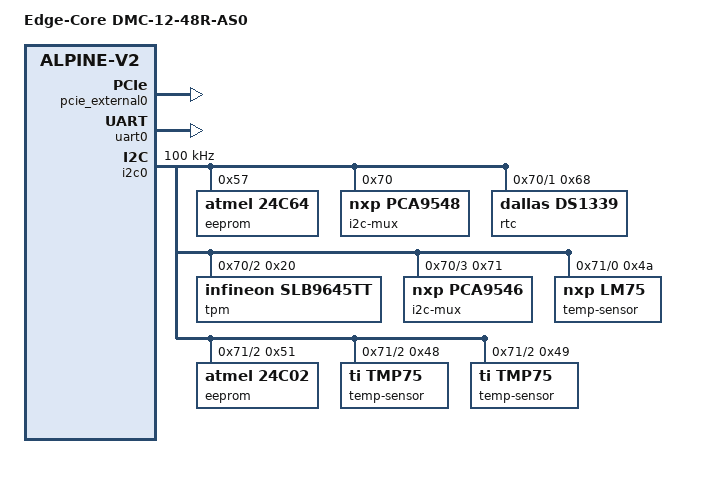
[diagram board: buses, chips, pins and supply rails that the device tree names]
// SPDX-License-Identifier: GPL-2.0
/*
 * Edge-Core DMC-12-48R-AS0 — 48-port serial console server
 * Annapurna Labs Alpine V2 K2C-AB (4× Cortex-A57)
 *
 * This board file is a thin overlay on the mainline alpine-v2.dtsi. The only
 * real fixup is on the &msix node: in mainline 7.x, drivers/of/irq.c's
 * of_irq_init() walks the IRQCHIP_DECLARE table but only invokes the matched
 * init function (drivers/irqchip/irq-alpine-msi.c:alpine_msix_init) for nodes
 * that ALSO have the "interrupt-controller" property. The mainline
 * alpine-v2.dtsi declares the msix node with msi-controller only, so the
 * alpine-msix irqchip never initializes, pci_enable_msix_exact() falls back to
 * an invalid IRQ vector, and al_eth's request_irq() returns -EINVAL. Adding
 * interrupt-controller + #interrupt-cells satisfies the of_irq_init filter
 * without changing semantics for downstream consumers (al_eth reaches the
 * controller via msi-parent on the PCIe host bridge, not interrupt-parent).
 *
 * Console: ttyS0 = uart0 @ 0xfd883000, 115200 8N1.
 * Other hardware (M.2 SSD via PCI 1c36:0031 AHCI, al_eth via PCI 1c36:0001) is
 * PCI-enumerated and binds by ID — no extra DT entries needed for those.
 *
 * Deferred until we need them: the external PCIe controller node
 * (amazon,al-alpine-v2-pcie at 0xfd800000 / ECAM 0xfb600000) that fans out
 * USB + 48× cp210x; the board I2C MCU at addr 0x68 used for fan/LED control.
 */

#include "alpine-v2.dtsi"

/ {
	model = "Edge-Core DMC-12-48R-AS0";
	compatible = "edgecore,dmc-12-48r-as0", "al,alpine-v2";

	aliases {
		serial0 = &uart0;
		serial1 = &uart1;
		serial2 = &uart2;
		serial3 = &uart3;
	};

	chosen {
		stdout-path = "serial0:115200n8";
	};
};

&uart0 { status = "okay"; };

/*
 * Make of_irq_init() actually call alpine_msix_init() for this node.
 * msi-controller is already set in the SoC dtsi; PCIe host bridges reach
 * the controller via msi-parent.
 */
&msix {
	interrupt-controller;
	#interrupt-cells = <1>;
};

/*
 * I2C bus tree, transplanted from the factory FDT (annapurna-labs DTB
 * at /root/dmc12/dmc12_original.fdt). The mainline alpine-v2.dtsi exposes
 * no labels for io-bus@fc000000, so we anchor by path. Addresses are
 * io-bus-relative — uart0 lives at 0x1883000 (absolute 0xfd883000) so
 * 0x1880000 here resolves to 0xfd880000.
 *
 * Linux bus numbering, matching the factory's `i2c dev 4 = CPLD path`:
 *   designware root         -> i2c-0
 *   pca9548 ch0..ch7        -> i2c-1..i2c-8   (channel N -> bus N+1)
 *   pca9546 ch0..ch3        -> i2c-9..i2c-12  (under pca9548 ch3 = i2c-4)
 *
 * /dev/i2c-4 is what dmc12-fancontrol.service waits on: the board CPLD at
 * 0x68 lives there (no DT child for it -- accessed raw via SMBus(4) +
 * i2c-dev). The lm75/tmp75 children below give /sys/class/hwmon entries
 * for `sensors`.
 */

/*
 * Dedicated input clock for the I2C controllers. The mainline alpine-v2.dtsi
 * only declares sbclk @ 1 MHz (for the sp804 timer). Plugging sbclk into the
 * DesignWare I2C controller makes its master driver derive HCNT/LCNT counts
 * of 0 (clk_rate * 4 µs - 3 - 1 = 0 at 1 MHz) -> every transaction loses
 * arbitration on the very first SCL high pulse. The factory FDT worked
 * around this with non-standard `i2c-ss-scl-{hcnt,lcnt}-raw` properties
 * (HCNT 0x855 + LCNT 0xb0b at SCL 100 kHz -> ~4960 input ticks per SCL
 * period -> ~496 MHz input clock). Declare that explicitly here as 500 MHz
 * so mainline's standard count derivation hits the same window.
 */
/ {
	i2cclk: i2cclk {
		compatible = "fixed-clock";
		#clock-cells = <0>;
		clock-frequency = <500000000>;
	};
};

/*
 * External PCIe controller — required for the off-SoC USB stack that fans
 * out to the 48× CP210x USB-serial converters. Mainline alpine-v2.dtsi
 * declares the internal pci-host-ecam-generic at 0xfbc00000 but says
 * nothing about the external port; the QNAP TS-x32x fork (delroth/
 * linux-qnap-tsx32x) pulled it in via a fork-local alpine-v2.dtsi patch,
 * we just paste the same node into our board overlay so mainline 7.0's
 * drivers/pci/controller/dwc/pcie-al.c (CONFIG_PCIE_AL=y) binds.
 *
 * Address layout (verified against factory FDT and QNAP fork):
 *   ECAM     : 0xfb600000 + 0x100000 (full PCIe domain 1)
 *   ctrl regs: 0xfd800000 + 0x10000  (the AL-specific glue)
 *   DBI      : 0xfd810000 + 0x1000   (DesignWare config)
 * Bus MMIO window 0xc0010000..0xc8000000 (~127 MB) matches the factory
 * boot log's `pci_bus 0001:00: root bus resource [mem 0xc0010000-0xc7ffffff]`.
 * Main IRQ GIC_SPI 49; legacy INTA on the bridge -> SPI 41.
 *
 * Once this binds, /dev/ttyUSB0..47 should enumerate as the kernel walks
 * the bridge tree (0001:00:00 -> 01:00 -> 02:03 -> 03:00.{0,1,2} = EHCI
 * + OHCIs -> 3 USB hubs -> 48× CP210x).
 */
/ {
	pcie_external0: pcie@fb600000 {
		compatible = "amazon,al-alpine-v2-pcie";
		device_type = "pci";
		#size-cells = <2>;
		#address-cells = <3>;
		#interrupt-cells = <1>;
		reg = <0x0 0xfb600000 0x0 0x00100000
		       0x0 0xfd800000 0x0 0x00010000
		       0x0 0xfd810000 0x0 0x00001000>;
		reg-names = "config", "controller", "dbi";
		bus-range = <0x00 0xff>;
		interrupts = <GIC_SPI 49 IRQ_TYPE_LEVEL_HIGH>;
		interrupt-map-mask = <0x00 0 0 7>;
		/*
		 * The Pericom 12d8:400c bridge tree fans out the off-SoC USB
		 * stack into a 3-function PCI device — OHCI@.0 lands on INTB,
		 * OHCI@.1 on INTC, EHCI@.2 on INTD after the standard bridge
		 * swizzle. The pcie-al controller has a single shared INTx
		 * line so all four pins route to GIC SPI 41. Mapping only INTA
		 * (as the QNAP TS-x32x fork does — they have no multi-function
		 * children behind their bridge) silently 'Found HC with no IRQ'
		 * for the other two host controllers, leaving the device with
		 * 16 of 48 cp210x ttyUSB ports.
		 */
		interrupt-map = <0x0000 0 0 1 &gic GIC_SPI 41 IRQ_TYPE_LEVEL_HIGH>,
				<0x0000 0 0 2 &gic GIC_SPI 41 IRQ_TYPE_LEVEL_HIGH>,
				<0x0000 0 0 3 &gic GIC_SPI 41 IRQ_TYPE_LEVEL_HIGH>,
				<0x0000 0 0 4 &gic GIC_SPI 41 IRQ_TYPE_LEVEL_HIGH>;
		ranges = <0x02000000 0x0 0xc0010000 0x0 0xc0010000 0x0 0x07ff0000>;
		msi-parent = <&msix>;
	};
};

&{/soc/io-bus@fc000000} {
	i2c0: i2c@1880000 {
		compatible = "snps,designware-i2c";
		reg = <0x1880000 0x1000>;
		interrupts = <GIC_SPI 21 IRQ_TYPE_LEVEL_HIGH>;
		clocks = <&i2cclk>;
		clock-frequency = <100000>;
		#address-cells = <1>;
		#size-cells = <0>;

		/* Board ID EEPROM on the root bus. */
		eeprom@57 {
			compatible = "atmel,24c64";
			reg = <0x57>;
		};

		/* 8-channel mux. The pca9548 driver enumerates each enabled
		 * child as its own Linux i2c bus. */
		i2c-mux@70 {
			compatible = "nxp,pca9548";
			reg = <0x70>;
			#address-cells = <1>;
			#size-cells = <0>;

			/* Channel 1 -> i2c-2 in Linux: real-time clock. */
			i2c@1 {
				reg = <1>;
				#address-cells = <1>;
				#size-cells = <0>;
				rtc@68 {
					compatible = "dallas,ds1339";
					reg = <0x68>;
					trickle-resistor-ohms = <2000>;
				};
			};

			/* Channel 2 -> i2c-3: Infineon TPM. */
			i2c@2 {
				reg = <2>;
				#address-cells = <1>;
				#size-cells = <0>;
				tpm@20 {
					compatible = "infineon,slb9645tt";
					reg = <0x20>;
				};
			};

			/* Channel 3 -> i2c-4: the bus the factory calls
			 * "U-Boot dev 4". Board CPLD at 0x68 lives here
			 * (no DT child needed; userspace pokes it via
			 * /dev/i2c-4). The pca9546 nested mux is also here. */
			i2c@3 {
				reg = <3>;
				#address-cells = <1>;
				#size-cells = <0>;

				i2c-mux@71 {
					compatible = "nxp,pca9546";
					reg = <0x71>;
					#address-cells = <1>;
					#size-cells = <0>;

					/* pca9546 ch0 -> i2c-9: lm75 thermal. */
					i2c@0 {
						reg = <0>;
						#address-cells = <1>;
						#size-cells = <0>;
						temp-sensor@4a {
							compatible = "nxp,lm75";
							reg = <0x4a>;
						};
					};

					/* pca9546 ch2 -> i2c-11: two tmp75s + EEPROM. */
					i2c@2 {
						reg = <2>;
						#address-cells = <1>;
						#size-cells = <0>;
						eeprom@51 {
							compatible = "atmel,24c02";
							reg = <0x51>;
						};
						temp-sensor@48 {
							compatible = "ti,tmp75";
							reg = <0x48>;
						};
						temp-sensor@49 {
							compatible = "ti,tmp75";
							reg = <0x49>;
						};
					};
				};
			};
		};
	};
};
